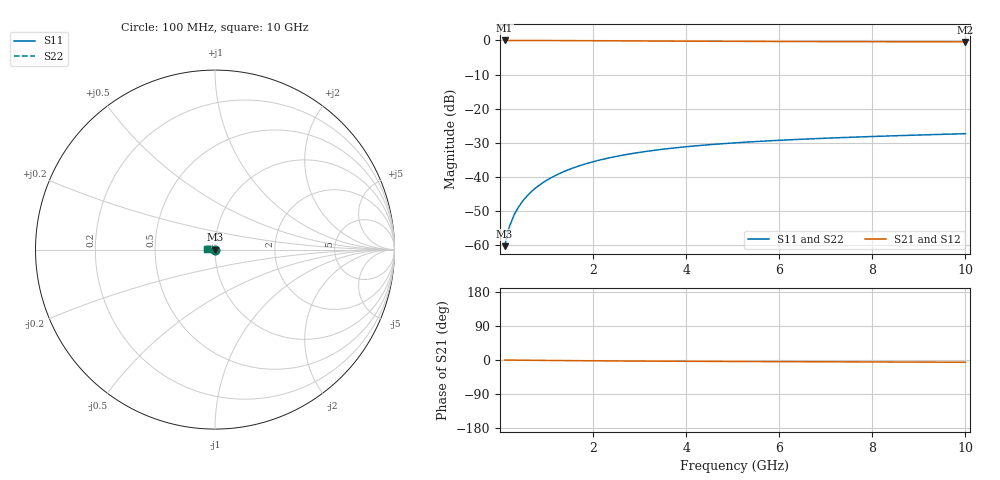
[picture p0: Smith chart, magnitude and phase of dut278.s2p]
! Touchstone file exported from HFSS 2024.1.0
!  File:  C:/UserFiles/LocalFiles/RDL_TSV_Batchsim/temp_TSV1_278_1779392915.aedt
!  Generated:  03:55:50 AM May 22, 2026
!  Design:  TSV1
!  Project:  temp_TSV1_278_1779392915
!  Setup:  Setup1
!  Solution:  Sweep
! Variables:
!  dtsv = 6.6um
!  hbump = 3um
!  htsv = 94.03um
!  lrdl = 252.1521522um
!  p = 40
!  p1 = 40.04um
!  t = 500um
!  trdl = 3um
!  wrdl = 24.89489489um
# GHz S MA R 50.000000
! Terminal data exported
! Port[1] = TSV22_T1
! Port[2] = TSV22_T2
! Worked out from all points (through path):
!   100 points, 100 MHz to 10 GHz, reference 50 ohm
!   highest |S21| = 0.00 dB at 100 MHz (marker M1); lowest = -0.4 dB at 10 GHz (marker M2)
!   lowest |S11| = -60.3 dB at 100 MHz (marker M3), VSWR 1.00, Z = 50 - j0.0909 ohm
!   |S11| at or under -10 dB: start of sweep to end of sweep
!   |S22| runs from -60.3 to -27.3 dB; largest |S21 - S12| = 7.2e-15
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0.1  0.0009705 -69.4  0.9996 -0.1  0.9996 -0.1  0.0009705 -69.4
! Gamma 0 0 0 0
! Port Impedance 50 0 50 0
0.2  0.001854 -81.7  0.9995 -0.2  0.9995 -0.2  0.001854 -81.7
0.3  0.002754 -87.1  0.9994 -0.3  0.9994 -0.3  0.002754 -87.1
0.4  0.003655 -90.7  0.9992 -0.5  0.9992 -0.5  0.003655 -90.7
0.5  0.004552 -93.5  0.9989 -0.6  0.9989 -0.6  0.004552 -93.5
0.6  0.005443 -95.9  0.9986 -0.7  0.9986 -0.7  0.005443 -95.9
0.7  0.006328 -98.1  0.9983 -0.8  0.9983 -0.8  0.006328 -98.1
0.8  0.007203 -100.1  0.9979 -0.9  0.9979 -0.9  0.007203 -100.1
0.9  0.00807 -102.0  0.9975 -1.0  0.9975 -1.0  0.008069 -102.0
1.1  0.009768 -105.6  0.9966 -1.2  0.9966 -1.2  0.009768 -105.6
1.4  0.01222 -110.7  0.9949 -1.5  0.9949 -1.5  0.01222 -110.7
1.6  0.01378 -113.9  0.9936 -1.7  0.9936 -1.7  0.01378 -113.9
1.8  0.01529 -117.0  0.9922 -1.9  0.9922 -1.9  0.01529 -117.0
2.1  0.01742 -121.4  0.99 -2.2  0.99 -2.2  0.01742 -121.4
2.5  0.02003 -127.0  0.987 -2.5  0.987 -2.5  0.02003 -127.0
2.9  0.0224 -132.2  0.984 -2.8  0.984 -2.8  0.0224 -132.2
3.4  0.02502 -138.2  0.9803 -3.1  0.9803 -3.1  0.02502 -138.2
4.2  0.02856 -146.9  0.9749 -3.5  0.9749 -3.5  0.02856 -146.9
5.1  0.0318 -155.4  0.9697 -4.0  0.9697 -4.0  0.0318 -155.4
6.7  0.03627 -168.0  0.9626 -4.6  0.9626 -4.6  0.03627 -168.0
8.4  0.04001 -178.9  0.9573 -5.3  0.9573 -5.3  0.04001 -178.9
10  0.04307 172.5  0.9537 -5.9  0.9537 -5.9  0.04307 172.5
